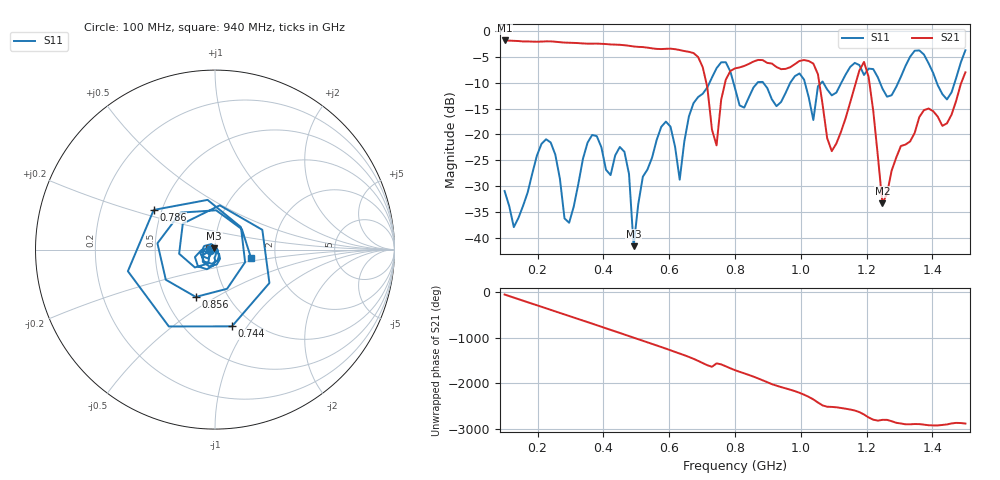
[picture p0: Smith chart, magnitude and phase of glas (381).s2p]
! NanoVNA-App
! Date: 2025-09-25 15:58:26
! Start: 100MHz Stop: 1,5GHz Points: 101
! S-Parameter data: F S11 S21 S12 S22
# Hz S RI R 50
!  Frequency  S11_Real  S11_Imag  S21_Real  S21_Imag  S12_Real  S12_Imag  S22_Real  S22_Imag
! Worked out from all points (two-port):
!   101 points, 100 MHz to 1.5 GHz, reference 50 ohm
!   highest |S21| = -1.80 dB at 100 MHz (marker M1); lowest = -33.4 dB at 1.248 GHz (marker M2)
!   |S21| within 3 dB of the highest: start of sweep to 684.2 MHz
!   lowest |S11| = -41.6 dB at 492 MHz (marker M3), VSWR 1.02, Z = 49.5 + j0.622 ohm
!   |S11| at or under -10 dB: start of sweep to 722.5 MHz; 795.4 MHz to 868.1 MHz (72.67 MHz wide, 8.74 % of centre); 886.1 MHz to 967.8 MHz (81.69 MHz wide, 8.81 % of centre)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
!   S12 and S22 are empty: the file has one direction only
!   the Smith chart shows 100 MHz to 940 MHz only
!   S11 on the Smith chart (normalised r, x): 100 MHz: 0.95, -0.01; 744 MHz: 0.81, -0.85; 786 MHz: 0.45, +0.24; 856 MHz: 0.71, -0.41; 940 MHz: 1.49, -0.15
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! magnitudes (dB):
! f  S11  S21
! 100 MHz  -30.9  -1.8
! 128 MHz  -37.9  -1.9
! 226 MHz  -20.9  -2.0
! 296 MHz  -37.1  -2.2
! 338 MHz  -24.7  -2.4
! 464 MHz  -23.3  -2.7
! 492 MHz  -41.6  -3.0
! 576 MHz  -18.5  -3.5
! 632 MHz  -28.8  -3.7
! 702 MHz  -12.1  -7.0
! 744 MHz  -7.2  -22.1
! 786 MHz  -7.8  -7.7
! 800 MHz  -11.1  -7.2
! 856 MHz  -10.9  -5.9
! 940 MHz  -13.7  -7.4
! 996 MHz  -8.2  -5.8
! 1.038 GHz  -17.2  -6.3
! 1.094 GHz  -12.4  -23.2
! 1.192 GHz  -8.5  -6.0
! 1.248 GHz  -11.1  -33.4
! 1.276 GHz  -12.4  -27.0
! 1.5 GHz  -3.7  -8.0
